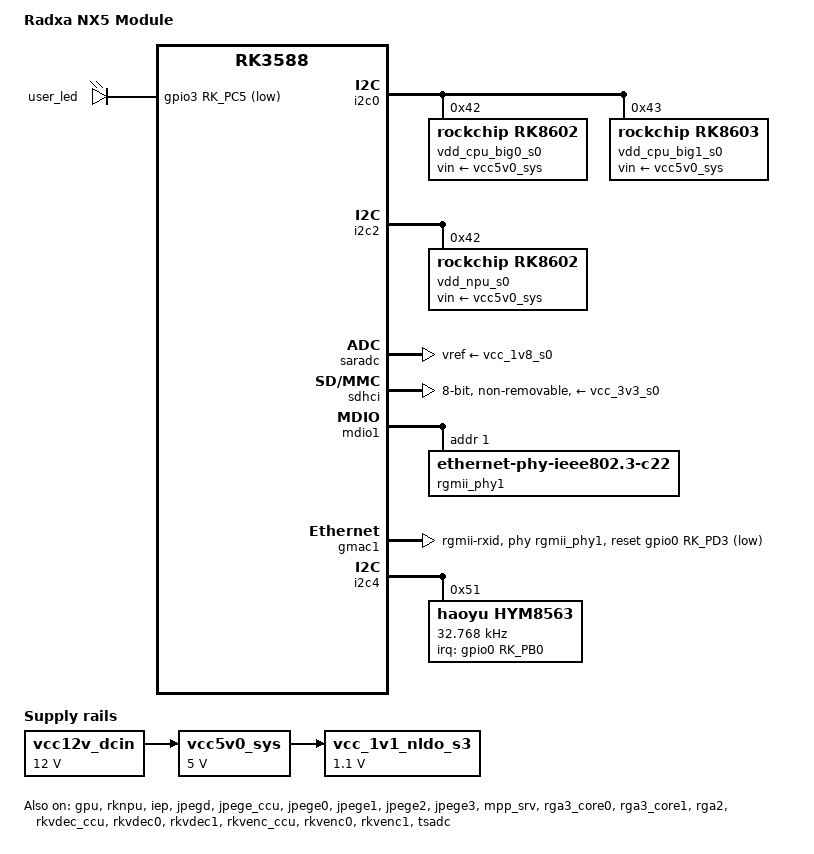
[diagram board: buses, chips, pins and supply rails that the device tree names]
// SPDX-License-Identifier: (GPL-2.0+ OR MIT)
/*
 * Copyright (c) 2022 Rockchip Electronics Co., Ltd.
 * Copyright (c) 2022 Radxa Limited
 *
 */

/dts-v1/;

#include <dt-bindings/gpio/gpio.h>
#include <dt-bindings/pwm/pwm.h>
#include <dt-bindings/pinctrl/rockchip.h>
#include <dt-bindings/input/rk-input.h>
#include <dt-bindings/display/drm_mipi_dsi.h>
#include <dt-bindings/display/rockchip_vop.h>
#include <dt-bindings/sensor-dev.h>
#include "rk3588s.dtsi"
#include "rk3588-rk806-single.dtsi"
#include "rk3588-linux.dtsi"

/ {
	model = "Radxa NX5 Module";
	compatible = "radxa,nx5-module", "rockchip,rk3588";

	aliases {
		mmc0 = &sdmmc;
		mmc1 = &sdhci;
		mmc2 = &sdio;
	};

	/delete-node/ chosen;

	vcc12v_dcin: vcc12v-dcin {
		compatible = "regulator-fixed";
		regulator-name = "vcc12v_dcin";
		regulator-always-on;
		regulator-boot-on;
		regulator-min-microvolt = <12000000>;
		regulator-max-microvolt = <12000000>;
	};

	vcc5v0_sys: vcc5v0-sys {
		compatible = "regulator-fixed";
		regulator-name = "vcc5v0_sys";
		regulator-always-on;
		regulator-boot-on;
		regulator-min-microvolt = <5000000>;
		regulator-max-microvolt = <5000000>;
		vin-supply = <&vcc12v_dcin>;
	};

	vcc_1v1_nldo_s3: vcc-1v1-nldo-s3 {
		compatible = "regulator-fixed";
		regulator-name = "vcc_1v1_nldo_s3";
		regulator-always-on;
		regulator-boot-on;
		regulator-min-microvolt = <1100000>;
		regulator-max-microvolt = <1100000>;
		vin-supply = <&vcc5v0_sys>;
	};

	leds {
		compatible = "gpio-leds";
		pinctrl-0 = <&led0_en>;
		pinctrl-names = "default";
		user_led {
			gpios = <&gpio3 RK_PC5 GPIO_ACTIVE_LOW>;
			linux,default-trigger = "heartbeat";
		};
	};
};

&i2c0 {
	status = "okay";
	pinctrl-names = "default";
	pinctrl-0 = <&i2c0m2_xfer>;

	vdd_cpu_big0_s0: vdd_cpu_big0_mem_s0: rk8602@42 {
		compatible = "rockchip,rk8602";
		reg = <0x42>;
		vin-supply = <&vcc5v0_sys>;
		regulator-compatible = "rk860x-reg";
		regulator-name = "vdd_cpu_big0_s0";
		regulator-min-microvolt = <550000>;
		regulator-max-microvolt = <1050000>;
		regulator-ramp-delay = <2300>;
		rockchip,suspend-voltage-selector = <1>;
		regulator-boot-on;
		regulator-always-on;
		regulator-state-mem {
			regulator-off-in-suspend;
		};
	};

	vdd_cpu_big1_s0: vdd_cpu_big1_mem_s0: rk8603@43 {
		compatible = "rockchip,rk8603";
		reg = <0x43>;
		vin-supply = <&vcc5v0_sys>;
		regulator-compatible = "rk860x-reg";
		regulator-name = "vdd_cpu_big1_s0";
		regulator-min-microvolt = <550000>;
		regulator-max-microvolt = <1050000>;
		regulator-ramp-delay = <2300>;
		rockchip,suspend-voltage-selector = <1>;
		regulator-boot-on;
		regulator-always-on;
		regulator-state-mem {
			regulator-off-in-suspend;
		};
	};
};

&i2c2 {
	status = "okay";
	pinctrl-names = "default";
	pinctrl-0 = <&i2c2m0_xfer>;

	vdd_npu_s0: vdd_npu_mem_s0: rk8602@42 {
		compatible = "rockchip,rk8602";
		reg = <0x42>;
		vin-supply = <&vcc5v0_sys>;
		regulator-compatible = "rk860x-reg";
		regulator-name = "vdd_npu_s0";
		regulator-min-microvolt = <550000>;
		regulator-max-microvolt = <950000>;
		regulator-ramp-delay = <2300>;
		rockchip,suspend-voltage-selector = <1>;
		regulator-boot-on;
		regulator-always-on;
		regulator-state-mem {
			regulator-off-in-suspend;
		};
	};
};

&cpu_l0 {
	cpu-supply = <&vdd_cpu_lit_s0>;
	mem-supply = <&vdd_cpu_lit_mem_s0>;
};

&cpu_b0 {
	cpu-supply = <&vdd_cpu_big0_s0>;
	mem-supply = <&vdd_cpu_big0_mem_s0>;
};

&cpu_b2 {
	cpu-supply = <&vdd_cpu_big1_s0>;
	mem-supply = <&vdd_cpu_big1_mem_s0>;
};

&gpu {
	mali-supply = <&vdd_gpu_s0>;
	mem-supply = <&vdd_gpu_mem_s0>;
	status = "okay";
};

&rknpu {
	rknpu-supply = <&vdd_npu_s0>;
	mem-supply = <&vdd_npu_mem_s0>;
	status = "okay";
};

&rknpu_mmu {
	status = "okay";
};

&iep {
	status = "okay";
};

&iep_mmu {
	status = "okay";
};

&jpegd {
	status = "okay";
};

&jpegd_mmu {
	status = "okay";
};

&jpege_ccu {
	status = "okay";
};

&jpege0 {
	status = "okay";
};

&jpege0_mmu {
	status = "okay";
};

&jpege1 {
	status = "okay";
};

&jpege1_mmu {
	status = "okay";
};

&jpege2 {
	status = "okay";
};

&jpege2_mmu {
	status = "okay";
};

&jpege3 {
	status = "okay";
};

&jpege3_mmu {
	status = "okay";
};

&mpp_srv {
	status = "okay";
};

&rga3_core0 {
	status = "okay";
};

&rga3_0_mmu {
	status = "okay";
};

&rga3_core1 {
	status = "okay";
};

&rga3_1_mmu {
	status = "okay";
};

&rga2 {
	status = "okay";
};

&rkvdec_ccu {
	status = "okay";
};

&rkvdec0 {
	status = "okay";
};

&rkvdec0_mmu {
	status = "okay";
};

&rkvdec1 {
	status = "okay";
};

&rkvdec1_mmu {
	status = "okay";
};

&rkvenc_ccu {
	status = "okay";
};

&rkvenc0 {
	status = "okay";
};

&rkvenc0_mmu {
	status = "okay";
};

&rkvenc1 {
	status = "okay";
};

&rkvenc1_mmu {
	status = "okay";
};

&saradc {
	status = "okay";
	vref-supply = <&vcc_1v8_s0>;
};

&tsadc {
	status = "okay";
};

&sdhci {
	vmmc-supply = <&vcc_3v3_s0>;
	vqmmc-supply = <&vcc_1v8_s3>;
	bus-width = <8>;
	non-removable;
	no-sdio;
	no-sd;
	mmc-hs200-1_8v;
	mmc-hs400-1_8v;
	mmc-hs400-enhanced-strobe;
	max-frequency = <200000000>;
};

&mdio1 {
	rgmii_phy1: phy@1 {
		compatible = "ethernet-phy-ieee802.3-c22";
		reg = <0x1>;
	};
};

&gmac1 {
	status = "okay";
	// Use rgmii-rxid mode to disable rx delay inside Soc
	phy-mode = "rgmii-rxid";
	clock_in_out = "output";

	snps,reset-gpio = <&gpio0 RK_PD3 GPIO_ACTIVE_LOW>;
	snps,reset-active-low;
	// Reset time is 20ms, 100ms for rtl8211f
	snps,reset-delays-us = <0 200000 100000>;

	pinctrl-names = "default";
	pinctrl-0 = <&gmac1_miim
		&gmac1_tx_bus2
		&gmac1_rx_bus2
		&gmac1_rgmii_clk
		&gmac1_rgmii_bus>;

	tx_delay = <0x43>;
	//rx_delay = <0x3e>;

	phy-handle = <&rgmii_phy1>;
};

&i2c4 {
	status = "okay";
	pinctrl-0 = <&i2c4m3_xfer>;

	hym8563: hym8563@51 {
		compatible = "haoyu,hym8563";
		reg = <0x51>;
		#clock-cells = <0>;
		clock-frequency = <32768>;
		clock-output-names = "hym8563";
		pinctrl-names = "default";
		pinctrl-0 = <&rtc_int>;
		interrupt-parent = <&gpio0>;
		interrupts = <RK_PB0 IRQ_TYPE_LEVEL_LOW>;
	};
};

&rockchip_suspend {
	compatible = "rockchip,pm-rk3588";
	status = "okay";
	rockchip,sleep-debug-en = <1>;
	rockchip,sleep-mode-config = <
		(0
		| RKPM_SLP_ARMOFF_DDRPD
		)
	>;
	rockchip,wakeup-config = <
		(0
		| RKPM_GPIO_WKUP_EN
		| RKPM_USB_WKUP_EN
		)
	>;
};

&avdd_0v75_s0 {
	regulator-state-mem {
		regulator-on-in-suspend;
		regulator-suspend-microvolt = <837500>;
	};
};

&avcc_1v8_s0 {
	regulator-state-mem {
		regulator-on-in-suspend;
		regulator-suspend-microvolt = <1800000>;
	};
};

&vcc_1v8_s0 {
	regulator-state-mem {
		regulator-on-in-suspend;
		regulator-suspend-microvolt = <1800000>;
	};
};

&vcc_3v3_s0 {
	regulator-state-mem {
		regulator-on-in-suspend;
		regulator-suspend-microvolt = <3300000>;
	};
};

&vdd_log_s0 {
	regulator-state-mem {
		regulator-on-in-suspend;
		regulator-suspend-microvolt = <750000>;
	};
};

&vdd_ddr_pll_s0 {
	regulator-state-mem {
		regulator-on-in-suspend;
		regulator-suspend-microvolt = <850000>;
	};
};

&pinctrl {

	hym8563 {
		rtc_int: rtc-int {
			rockchip,pins = <0 RK_PB0 RK_FUNC_GPIO &pcfg_pull_none>;
		};
	};

	led {
		led0_en: led0-en {
			rockchip,pins = <3 RK_PC5 RK_FUNC_GPIO &pcfg_pull_none>;
		};
	};
};
